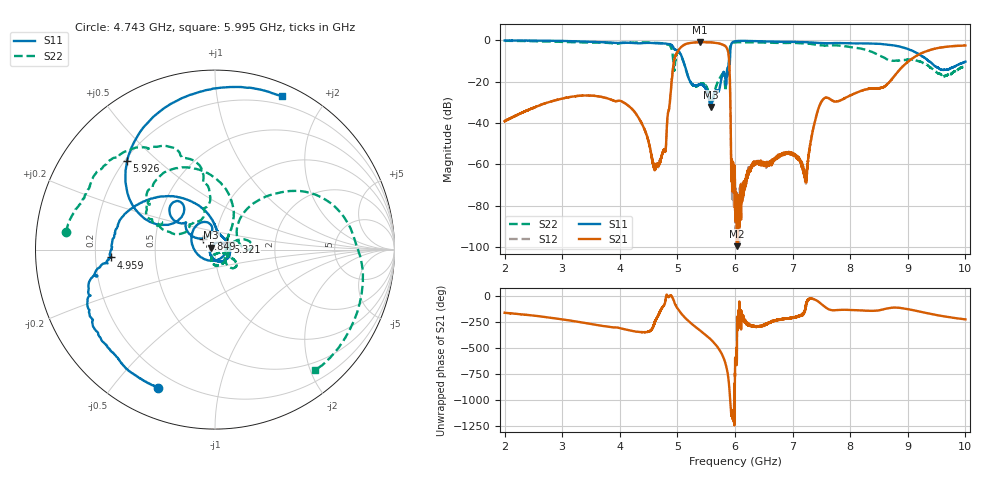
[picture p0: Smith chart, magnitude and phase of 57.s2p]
#  HZ  S  RI  R  50.00
! Rohde & Schwarz Vector Network Analyzer
! Rohde-Schwarz,ZNB20-4Port,1311601064102434,3.45
! Created: UTC 12/23/2022, 1:51:03 PM
! freq[Hz]  re:S11  im:S11  re:S21  im:S21  re:S12  im:S12  re:S22  im:S22
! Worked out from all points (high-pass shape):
!   8001 points, 2 GHz to 10 GHz, reference 50 ohm
!   highest |S21| = -0.97 dB at 5.395 GHz (marker M1); lowest = -99.5 dB at 6.037 GHz (marker M2)
!   |S21| within 3 dB of the highest: 5.044 GHz to 5.861 GHz (817.4 MHz wide, 15 % of centre); 9.496 GHz to end of sweep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
!   lowest |S11| = -32.2 dB at 5.58 GHz (marker M3), VSWR 1.05, Z = 47.9 + j1.07 ohm
!   |S11| at or under -10 dB: 5.102 GHz to 5.894 GHz (792.1 MHz wide, 14.4 % of centre); 5.903848 GHz to 5.911716 GHz (7.868 MHz wide, 0.133 % of centre); 9.36 GHz to end of sweep
!   |S22| runs from -32.6 to -0.3 dB; largest |S21 - S12| = 0.0058
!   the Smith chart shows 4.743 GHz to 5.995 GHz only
!   S11 on the Smith chart (normalised r, x): 4.743 GHz: 0.13, -0.66; 4.959 GHz: 0.26, -0.04; 5.321 GHz: 1.14, +0.10; 5.849 GHz: 0.86, +0.11; 5.926 GHz: 0.21, +0.40; 5.995 GHz: 0.11, +1.53
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2e9  -0.5639 0.8018  -0.0104 -0.00378  -0.0104 -0.00382  -0.1665 0.948
3.334e9  0.5407 0.7569  -0.0137 0.0438  -0.0137 0.0438  0.8378 -0.2689
4.179e9  0.7393 -0.4442  0.021 0.0118  0.021 0.0119  -0.2415 -0.8356
4.667e9  -0.1174 -0.8318  -0.00101 6.16e-05  -0.00085 1.14e-05  -0.8447 -0.1379
4.743e9  -0.3188 -0.7695  -0.000485 -0.00185  -0.000495 -0.00187  -0.8323 0.0985
4.959e9  -0.5817 -0.0438  0.1213 -0.3889  0.1223 -0.3889  -0.2583 0.0997
5.115e9  -0.1094 0.2569  -0.7326 0.2373  -0.7329 0.2376  0.0963 0.2566
5.321e9  0.0684 0.0439  0.432 0.7698  0.4295 0.772  0.0771 -0.00763
5.395e9  0.083 -0.0202  0.7823 0.4343  0.7802 0.4345  0.0526 -0.0701
5.58e9  -0.0218 0.0111  0.4844 -0.7415  0.4857 -0.7413  -0.00429 -0.0281
5.744e9  -0.0651 -0.0493  -0.8052 -0.1444  -0.8047 -0.1462  0.1116 -0.0625
5.849e9  -0.0695 0.0615  0.5042 0.4546  0.503 0.4552  0.1059 0.044
5.926e9  -0.4894 0.4963  0.00817 0.00132  0.00814 0.00118  0.7831 0.0406
5.995e9  0.376 0.8545  0.000317 0.000523  -0.000313 0.000921  0.5566 -0.6705
6e9  0.4201 0.8394  0.000112 -0.000149  0.000184 0.000414  0.5383 -0.6925
6.037e9  0.6629 0.6874  -1.02e-05 3.15e-06  -9.79e-05 6.8e-05  0.3598 -0.8142
6.347e9  0.8759 -0.3615  0.000329 0.000934  0.000297 0.000945  -0.5023 -0.7246
7.218e9  -0.0724 -0.8889  -0.000294 -0.00025  -0.000313 -0.000321  -0.7852 0.277
7.334e9  -0.1802 -0.8598  0.00445 -0.00206  0.00456 -0.00212  -0.7092 0.3788
7.552e9  -0.3265 -0.7749  -0.00645 -0.0392  -0.00635 -0.0393  -0.5685 0.4792
8.667e9  -0.7697 -0.0793  -0.0399 -0.084  -0.0405 -0.0843  0.2749 -0.1885
1e10  -0.2713 -0.1363  -0.54 0.5128  -0.5365 0.5129  -0.2091 -0.1219
